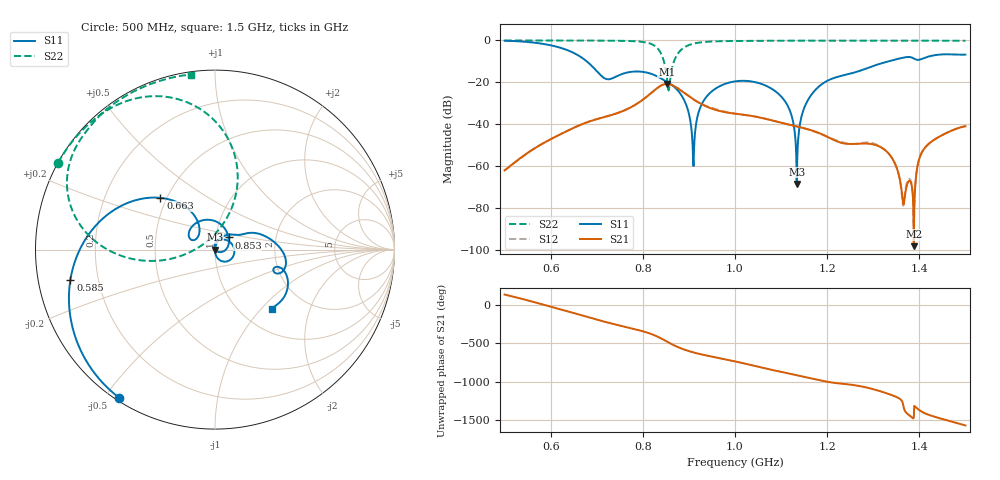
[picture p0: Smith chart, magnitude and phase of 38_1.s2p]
! TOUCHSTONE file generated by CST MICROWAVE STUDIO
! Date and time: Fri Oct  2 17:14:45 2020
! Project name: Scenario_1_Free_Space_out_of_line.cst
! Parameters = {Lambda=346.42; Step_1=17.321; dy1=-293.977; dx1=173; L_HA=400; MT=2.54; Rad_Dielectric=30; Rad_Lower=7.3; Rad_Upper=30; a_HA=580; a_WG=246; b_HA=500; b_WG=121; c_HA=0; c_WG=187; d_feed=85; h_feed=15; h_lower=18; h_upper=40}
! Header version: 2018
! Port assignment regex: !\s*Touchstone port\s*([0-9]+)\s*=\s*(CST MWS port|CST DS port)\s*([0-9]+|Zmin|Zmax)\s*\(\"(.*)\"\)(\s*mode\s*([0-9]+))?.*
! Touchstone port assignment:
! Touchstone port 1 = CST MWS port 1 ("")
! Touchstone port 2 = CST MWS port 2 ("")
# GHz S DB R 50
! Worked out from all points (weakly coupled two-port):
!   1003 points, 500 MHz to 1.5 GHz, reference 50 ohm
!   highest |S21| = -20.76 dB at 852 MHz (marker M1); lowest = -98.2 dB at 1.388 GHz (marker M2)
!   lowest |S11| = -68.5 dB at 1.134 GHz (marker M3), VSWR 1.00, Z = 50 - j0.0186 ohm
!   |S11| at or under -10 dB: 678.4 MHz to 1.333 GHz (654.3 MHz wide, 65.1 % of centre)
!   |S22| runs from -23.9 to 0.0 dB; largest |S21 - S12| = 0.0012
!   S11 on the Smith chart (normalised r, x): 500 MHz: 0.01, -0.55; 585 MHz: 0.10, -0.10; 663 MHz: 0.46, +0.32; 853 MHz: 1.15, +0.16; 1.5 GHz: 1.37, -1.15
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0.5  -0.15 -122.8  -62.01 136.3  -62.03 136.8  -0.01 151.1
0.585  -1.70 -168.3  -48.91 3.4  -48.90 3.3  -0.01 145.2
0.663  -7.55 136.5  -40.43 -126.8  -40.41 -126.6  -0.04 138.7
0.667  -8.13 133.7  -40.06 -133.8  -40.04 -133.6  -0.04 138.3
0.721  -18.42 140.2  -36.27 135.6  -36.26 135.6  -0.10 132.1
0.834  -17.47 68.5  -22.28 -58.3  -22.28 -58.3  -4.32 82.5
0.852  -19.72 43.4  -20.76 -116.1  -20.76 -116.0  -17.42 74.7
0.853  -19.85 41.9  -20.76 -119.4  -20.76 -119.4  -19.28 80.7
0.891  -29.11 -23.7  -25.22 136.6  -25.12 136.5  -3.17 174.4
0.91  -59.93 63.8  -28.12 101.7  -28.14 101.9  -1.52 163.2
0.935  -27.77 82.3  -31.22 65.6  -31.05 67.7  -0.71 153.3
1  -19.54 5.4  -34.94 -14.8  -34.93 -14.9  -0.26 140.0
1.099  -26.47 -74.2  -39.19 -150.4  -39.26 -150.4  -0.12 129.8
1.121  -34.62 -85.6  -40.36 -178.6  -40.41 -178.4  -0.11 127.9
1.134  -68.52 -29.8  -41.04 164.7  -41.04 164.8  -0.10 126.8
1.167  -25.55 69.8  -42.97 121.2  -43.07 121.0  -0.09 124.1
1.334  -9.92 9.7  -54.09 -81.0  -54.14 -81.5  -0.09 111.4
1.364  -8.26 -4.1  -76.36 162.5  -77.78 151.2  -0.09 109.1
1.377  -7.88 -13.5  -67.16 8.3  -66.14 0.3  -0.10 108.1
1.388  -8.59 -21.0  -98.18 -26.6  -92.15 -105.7  -0.10 107.2
1.412  -8.26 -15.8  -51.26 28.7  -51.20 29.1  -0.10 105.3
1.5  -6.76 -46.1  -40.92 -130.2  -40.92 -130.2  -0.14 97.8
